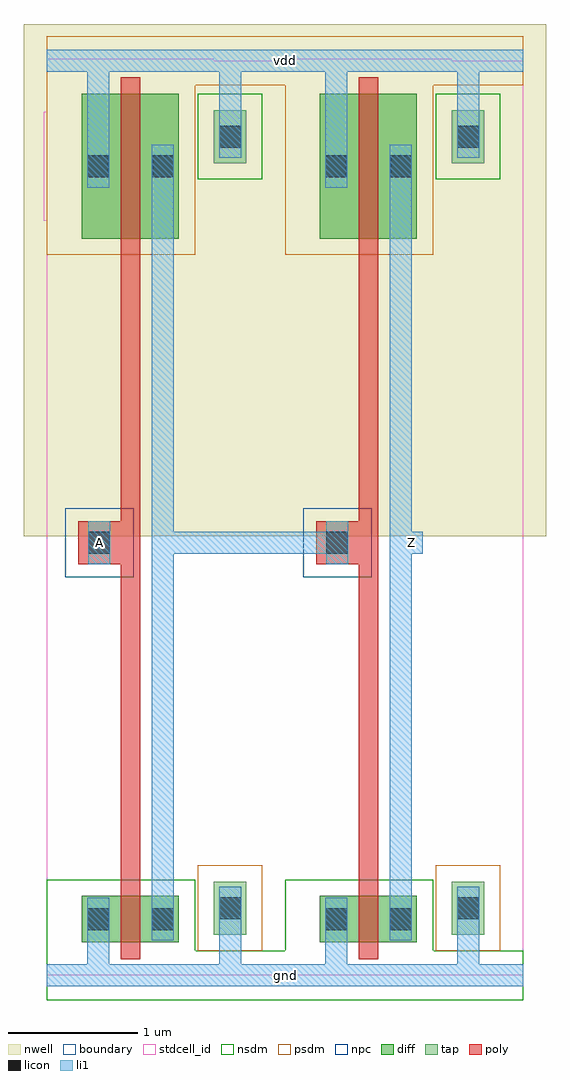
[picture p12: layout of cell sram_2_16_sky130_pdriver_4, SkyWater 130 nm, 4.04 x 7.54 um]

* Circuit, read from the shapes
.subckt sram_2_16_sky130_pdriver_4 A Z gnd vdd
XM1 sram_2_16_sky130_pinv_4_1/A A gnd gnd sky130_fd_pr__nfet_01v8 w=0.36 l=0.15
XM2 Z sram_2_16_sky130_pinv_4_1/A gnd gnd sky130_fd_pr__nfet_01v8 w=0.36 l=0.15
XM3 sram_2_16_sky130_pinv_4_1/A A vdd vdd sky130_fd_pr__pfet_01v8 w=1.12 l=0.15
XM4 Z sram_2_16_sky130_pinv_4_1/A vdd vdd sky130_fd_pr__pfet_01v8 w=1.12 l=0.15
.ends

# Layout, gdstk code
import gdstk
lib = gdstk.Library(unit=1e-6, precision=1e-09)
def R(c, l, rs):  # rectangles x0, y0, x1, y1
    for r in rs: c.add(gdstk.rectangle(r[:2], r[2:], *l))
nwell = (64, 20)
diff = (65, 20)
tap = (65, 44)
poly = (66, 20)
licon = (66, 44)
li1 = (67, 20)
stdcell_id = (81, 4)
nsdm = (93, 44)
psdm = (94, 20)
npc = (95, 20)
boundary = (235, 4)

sram_2_16_sky130_contact = lib.new_cell('sram_2_16_sky130_contact_11')
R(sram_2_16_sky130_contact, nwell, [(-0.295,-0.255,0.545,0.585)])
R(sram_2_16_sky130_contact, diff, [(0,0.02,0.25,0.31)])
R(sram_2_16_sky130_contact, licon, [(0.04,0.08,0.21,0.25)])
R(sram_2_16_sky130_contact, li1, [(0.04,0,0.21,0.33)])
R(sram_2_16_sky130_contact, stdcell_id, [(-0.295,-0.255,0.545,0.585)])
R(sram_2_16_sky130_contact, psdm, [(-0.125,-0.105,0.375,0.435)])
R(sram_2_16_sky130_contact, boundary, [(-0.295,-0.255,0.545,0.585)])

sram_2_16_sky130_pmos_m1 = lib.new_cell('sram_2_16_sky130_pmos_m1_w1_120_sli_dli_da_p')
R(sram_2_16_sky130_pmos_m1, nwell, [(-0.27,-0.27,1.02,1.39)])
R(sram_2_16_sky130_pmos_m1, diff, [(0,0,0.75,1.12)])
R(sram_2_16_sky130_pmos_m1, poly, [(0.3,-0.13,0.45,1.25), (0.3,-0.13,0.45,1.25)])
R(sram_2_16_sky130_pmos_m1, li1, [(0.04,0.395,0.21,0.725), (0.54,0.395,0.71,0.725)])
R(sram_2_16_sky130_pmos_m1, stdcell_id, [(-0.27,-0.27,1.02,1.39)])
R(sram_2_16_sky130_pmos_m1, psdm, [(-0.125,-0.125,0.875,1.245)])
R(sram_2_16_sky130_pmos_m1, boundary, [(-0.27,-0.27,1.02,1.39)])
sram_2_16_sky130_pmos_m1.add(gdstk.Reference(sram_2_16_sky130_contact, (0,0.395)))
sram_2_16_sky130_pmos_m1.add(gdstk.Reference(sram_2_16_sky130_contact, (0.5,0.395)))
sram_2_16_sky130_pmos_m1.add(gdstk.Label('G', (0.375,0.56), layer=66, texttype=5))
sram_2_16_sky130_pmos_m1.add(gdstk.Label('S', (0.125,0.56), layer=67, texttype=5))
sram_2_16_sky130_pmos_m1.add(gdstk.Label('D', (0.625,0.56), layer=67, texttype=5))

c_sram_2_16_sky130_contact = lib.new_cell('sram_2_16_sky130_contact_10')
R(c_sram_2_16_sky130_contact, diff, [(0,0.02,0.25,0.31)])
R(c_sram_2_16_sky130_contact, licon, [(0.04,0.08,0.21,0.25)])
R(c_sram_2_16_sky130_contact, li1, [(0.04,0,0.21,0.33)])
R(c_sram_2_16_sky130_contact, stdcell_id, [(-0.125,-0.105,0.375,0.435)])
R(c_sram_2_16_sky130_contact, nsdm, [(-0.125,-0.105,0.375,0.435)])
R(c_sram_2_16_sky130_contact, boundary, [(-0.125,-0.105,0.375,0.435)])

sram_2_16_sky130_nmos_m1 = lib.new_cell('sram_2_16_sky130_nmos_m1_w0_360_sli_dli_da_p')
R(sram_2_16_sky130_nmos_m1, diff, [(0,0,0.75,0.36)])
R(sram_2_16_sky130_nmos_m1, poly, [(0.3,-0.13,0.45,0.49), (0.3,-0.13,0.45,0.49)])
R(sram_2_16_sky130_nmos_m1, li1, [(0.04,0.015,0.21,0.345), (0.54,0.015,0.71,0.345)])
R(sram_2_16_sky130_nmos_m1, stdcell_id, [(-0.125,-0.13,0.875,0.49)])
R(sram_2_16_sky130_nmos_m1, nsdm, [(-0.125,-0.125,0.875,0.485)])
R(sram_2_16_sky130_nmos_m1, boundary, [(-0.125,-0.13,0.875,0.49)])
sram_2_16_sky130_nmos_m1.add(gdstk.Reference(c_sram_2_16_sky130_contact, (0,0.015)))
sram_2_16_sky130_nmos_m1.add(gdstk.Reference(c_sram_2_16_sky130_contact, (0.5,0.015)))
sram_2_16_sky130_nmos_m1.add(gdstk.Label('G', (0.375,0.18), layer=66, texttype=5))
sram_2_16_sky130_nmos_m1.add(gdstk.Label('S', (0.125,0.18), layer=67, texttype=5))
sram_2_16_sky130_nmos_m1.add(gdstk.Label('D', (0.625,0.18), layer=67, texttype=5))

c_sram_2_16_sky130_contact_ = lib.new_cell('sram_2_16_sky130_contact_22')
R(c_sram_2_16_sky130_contact_, nwell, [(-0.295,-0.215,0.545,0.625)])
R(c_sram_2_16_sky130_contact_, tap, [(0,0,0.25,0.41)])
R(c_sram_2_16_sky130_contact_, licon, [(0.04,0.12,0.21,0.29)])
R(c_sram_2_16_sky130_contact_, li1, [(0.04,0.04,0.21,0.37)])
R(c_sram_2_16_sky130_contact_, stdcell_id, [(-0.295,-0.215,0.545,0.625)])
R(c_sram_2_16_sky130_contact_, nsdm, [(-0.125,-0.125,0.375,0.535)])
R(c_sram_2_16_sky130_contact_, boundary, [(-0.295,-0.215,0.545,0.625)])

c_sram_2_16_sky130_contact__ = lib.new_cell('sram_2_16_sky130_contact_23')
R(c_sram_2_16_sky130_contact__, tap, [(0,0,0.25,0.41)])
R(c_sram_2_16_sky130_contact__, licon, [(0.04,0.12,0.21,0.29)])
R(c_sram_2_16_sky130_contact__, li1, [(0.04,0.04,0.21,0.37)])
R(c_sram_2_16_sky130_contact__, stdcell_id, [(-0.125,-0.125,0.375,0.535)])
R(c_sram_2_16_sky130_contact__, psdm, [(-0.125,-0.125,0.375,0.535)])
R(c_sram_2_16_sky130_contact__, boundary, [(-0.125,-0.125,0.375,0.535)])

c_sram_2_16_sky130_contact___ = lib.new_cell('sram_2_16_sky130_contact_15')
R(c_sram_2_16_sky130_contact___, poly, [(0,0,0.33,0.33)])
R(c_sram_2_16_sky130_contact___, licon, [(0.08,0.08,0.25,0.25)])
R(c_sram_2_16_sky130_contact___, li1, [(0.08,0,0.25,0.33)])
R(c_sram_2_16_sky130_contact___, stdcell_id, [(-0.1,-0.1,0.43,0.43)])
R(c_sram_2_16_sky130_contact___, npc, [(-0.1,-0.1,0.43,0.43)])
R(c_sram_2_16_sky130_contact___, boundary, [(-0.1,-0.1,0.43,0.43)])

sram_2_16_sky130_pinv_4 = lib.new_cell('sram_2_16_sky130_pinv_4')
R(sram_2_16_sky130_pinv_4, nwell, [(-0.18,3.395,2.02,7.355)])
R(sram_2_16_sky130_pinv_4, poly, [(0.57,0.745,0.72,5.565), (0.405,3.18,0.57,3.51)])
R(sram_2_16_sky130_pinv_4, li1, [(0,-0.085,1.84,0.085), (0.31,-0.085,0.48,0.27), (1.33,0,1.5,0.52), (0.81,0.27,0.98,6.42), (0.32,3.18,0.49,3.51), (0.895,3.26,1.065,3.43), (0.31,6.09,0.48,7.155), (1.33,6.485,1.5,7.07), (0,6.985,1.84,7.155)])
R(sram_2_16_sky130_pinv_4, stdcell_id, [(0,0,1.84,7.07), (0,0,1.84,7.07)])
R(sram_2_16_sky130_pinv_4, nsdm, [(0,-0.19,1.84,0.19), (0,0,1.145,0.74)])
R(sram_2_16_sky130_pinv_4, psdm, [(0,5.57,1.145,7.07), (0,6.88,1.84,7.26)])
R(sram_2_16_sky130_pinv_4, boundary, [(0,0,1.84,7.07), (0,0,1.84,7.07)])
sram_2_16_sky130_pinv_4.add(gdstk.Reference(sram_2_16_sky130_pmos_m1, (0.27,5.695)))
sram_2_16_sky130_pinv_4.add(gdstk.Reference(sram_2_16_sky130_nmos_m1, (0.27,0.255)))
sram_2_16_sky130_pinv_4.add(gdstk.Reference(c_sram_2_16_sky130_contact_, (1.29,6.28)))
sram_2_16_sky130_pinv_4.add(gdstk.Reference(c_sram_2_16_sky130_contact__, (1.29,0.315)))
sram_2_16_sky130_pinv_4.add(gdstk.Reference(c_sram_2_16_sky130_contact___, (0.24,3.18)))
sram_2_16_sky130_pinv_4.add(gdstk.Label('A', (0.405,3.345), layer=67, texttype=5))
sram_2_16_sky130_pinv_4.add(gdstk.Label('Z', (0.98,3.345), layer=67, texttype=5))
sram_2_16_sky130_pinv_4.add(gdstk.Label('gnd', (0.92,0), layer=67, texttype=5))
sram_2_16_sky130_pinv_4.add(gdstk.Label('vdd', (0.92,7.07), layer=67, texttype=5))

sram_2_16_sky130_pdriver = lib.new_cell('sram_2_16_sky130_pdriver_4')
R(sram_2_16_sky130_pdriver, nwell, [(-0.18,3.395,3.86,7.355)])
R(sram_2_16_sky130_pdriver, li1, [(0,-0.085,3.68,0.085), (0.32,3.18,0.49,3.51), (0.98,3.26,2.245,3.43), (2.735,3.26,2.905,3.43), (0,6.985,3.68,7.155)])
R(sram_2_16_sky130_pdriver, stdcell_id, [(0,0,3.68,7.07), (0,0,3.68,7.07)])
R(sram_2_16_sky130_pdriver, nsdm, [(0,-0.19,3.68,0.19)])
R(sram_2_16_sky130_pdriver, psdm, [(0,6.88,3.68,7.26)])
R(sram_2_16_sky130_pdriver, boundary, [(0,0,3.68,7.07), (0,0,3.68,7.07)])
sram_2_16_sky130_pdriver.add(gdstk.Reference(sram_2_16_sky130_pinv_4, (0,0)))
sram_2_16_sky130_pdriver.add(gdstk.Reference(sram_2_16_sky130_pinv_4, (1.84,0)))
sram_2_16_sky130_pdriver.add(gdstk.Label('Z', (2.82,3.345), layer=67, texttype=5))
sram_2_16_sky130_pdriver.add(gdstk.Label('A', (0.405,3.345), layer=67, texttype=5))
sram_2_16_sky130_pdriver.add(gdstk.Label('gnd', (1.84,0), layer=67, texttype=5))
sram_2_16_sky130_pdriver.add(gdstk.Label('vdd', (1.84,7.07), layer=67, texttype=5))

lib.write_gds('sram_2_16_sky130_pdriver_4.gds')
